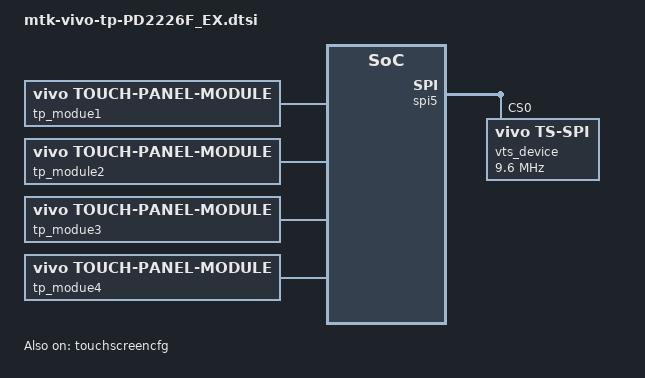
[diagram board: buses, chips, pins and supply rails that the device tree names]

&spi5 {
	#address-cells = <1>;
	#size-cells = <0>;
	
	vts_device@0 {
		compatible = "vivo,ts-spi";
		status = "okay";
		reg=<0>;
		spi-max-frequency = <9600000>;
		//pinctrl-names ="default";
		//pinctrl-0 = <&spi_pins_pd2139f_cfg>;
		nt36528 {
			compatible = "novatek,NVT-ts-spi-v2";
			status = "ok";
		
			vts-type=<0>;
			vts-ic-number=<85>;
			spi-max-frequency = <9600000>;	//4800000,9600000,15000000,19200000
			//pinctrl-names = "spi_clk_active","spi_mosi_active";
			//pinctrl-0 = <&spi2_clk_set_cfg>;
			novatek,reset-gpio = <&pio 19 0x00>;
			novatek,irq-gpio = <&pio 1 0x02>;

			sensor-test-key="com.nttouchscreen.mptest:MainActivity:android.intent.action.novatek:0:testResult";
			lcm-noise-test-key="com.nt36xxxtouchscreen.deltadiff:MainActivity:null:null:null";
			rawdata-test-key="com.nttouchscreen.getdata:MainActivity:null:null:null";
			rf-noise-test-key="com.nt36xxxtouchscreen.deltadiff:BspTest:android.intent.action.nvtdeltadiff:0:testResult";
			
			/* 672 */
			//novatek,swrst-n8-addr = <0x01F01A>;

			/* 672A */
			novatek,swrst-n8-addr = <0x03F0FE>;
		};
		
		td4160 {
			compatible = "ovt,tcm_td4375_v2";
			status = "ok";

			vts-type=<0>;
			vts-ic-number=<120>;
			spi-max-frequency = <9600000>;	//4800000,9600000,15000000,19200000
			ovt,irq-gpio = <&pio 1 0x08>;
			//ovt,cs-gpio = <&pio 98 0x00>;
			ovt,spi-mode = <3>;
			ovt,ubl-max-freq = <9600000>;
			ovt,ubl-byte-delay-us = <20>;
			ovt,reset-gpio = <&pio 19 0x00>;
			ovt,attn_polarity = <0x02>;
			ovt,power-on-state = <1>;
			ovt,irq-on-state = <0>;
			//ovt,power-delay-ms = <200>;
			ovt,reset-delay-ms = <120>;
			ovt,reset-on-state = <0>;
			ovt,reset-active-ms = <1>;
			ovt,reset-shutdown = <1>;

			sensor-test-key = "com.vivotouchscreen.ovttdditool:ActivityVIVOProduction:com.vivotouchscreen.ovttdditool:0:com.vivotouchscreen.ovttdditool";
			lcm-noise-test-key = "com.vivotouchscreen.ovtdeltadiff:MainActivity:null:null:null";
			rawdata-test-key="com.vivotouchscreen.ovttdditool:MainActivity:null:null:null";
			rf-noise-test-key="com.vivotouchscreen.ovtdeltadiff:OvtBspTest:com.vivotouchscreen.ovtdeltadiff:0:testResult";
		};
		
		chipone_tddi {
			compatible = "chipone-tddi";
			status = "ok";
			vts-ic-number=<111>;
			spi-max-frequency = <9600000>;	//4800000,9600000,15000000,19200000
			chipone,irq-gpio = <&pio 1 0x02>;
			chipone,rst-gpio = <&pio 19 0x00>;
			chipone,x-res = <720>;
			chipone,y-res = <1600>;
			sensor-test-key="com.touchscreen.chipone9916.test:MainActivity:android.intent.action.chipone:0:testResult";
			rawdata-test-key="com.touchscreen.chipone9916.rawdata:DataShowActivity:null:null:null";
			lcm-noise-test-key="com.touchscreen.chipone9916.noise:NoiseActivity:null:null:null";
			rf-noise-test-key="com.touchscreen.chipone9916.noise:BspTestActivity:action_noise_test:0:result";
		};
	};
};

&touchscreencfg {
	compatible = "vivo,touchscreen-config";
	vivo,ts-product-name="PD2226F_EX";
	status = "okay";
	
	tp_modue1{    // NT365258 1211839
		compatible = "vivo,touch-panel-module";
		vts-ic-number=<85>;
		vts-type=<0>;
		vts-lcmid=<48>;  //   INX  nt36528
		vts-dimention-x=<720>;
		vts-dimention-y=<1612>;
		vts-tx-sensors=<18>;
		vts-rx-sensors=<32>;
		vts-incell=<1>;
		vts-need-caliberation=<0>;
		vts-virtual-proximinity=<0>;
		vts-long-press=<0>;
		vts-module-vendor=<0xF0>;
		vts-no-flash=<1>;
		vts-game-mode=<0>;
		vts-game-idle-time=<0>;
		vts-report-timestamp=<1>;
		vts-gesture=<1>;
		vts-input-method=<1>;
		vts-debug-cust=<1>;
	};
	
	tp_module2 {    //1211843 td4160
		compatible = "vivo,touch-panel-module";
		vts-ic-number=<120>;
		vts-type=<0>;
		vts-lcmid=<145>;//td4160 ovt
		vts-dimention-x=<720>;
		vts-dimention-y=<1612>;
		vts-tx-sensors=<18>;
		vts-rx-sensors=<32>;
		vts-incell=<1>;
		vts-need-caliberation=<0>;
		vts-virtual-proximinity=<0>;
		vts-long-press=<0>;
		vts-module-vendor=<0xF0>;
		vts-no-flash=<1>;
		vts-game-mode=<1>;
		vts-game-idle-time=<10>;
		vts-report-timestamp=<1>;
		vts-gesture=<1>;
	};
	
	tp_modue3{    //1211847  
		compatible = "vivo,touch-panel-module";
		vts-ic-number=<111>;
		vts-type=<0>;
		vts-lcmid=<18>;//  INCL9916
		vts-dimention-x=<720>;
		vts-dimention-y=<1612>;
		vts-tx-sensors=<18>;
		vts-rx-sensors=<32>;
		vts-incell=<1>;
		vts-module-vendor=<0xF0>;
		vts-no-flash=<1>;
		vts-gesture=<1>;
		vts-debug-cust=<1>;
		vts-no-flash-unique-code=<1>;
	};
	tp_modue4{    // NT365258 1211875
		compatible = "vivo,touch-panel-module";
		vts-ic-number=<85>;
		vts-type=<0>;
		vts-lcmid=<51>;  //   INX  nt36528
		vts-dimention-x=<720>;
		vts-dimention-y=<1612>;
		vts-tx-sensors=<18>;
		vts-rx-sensors=<32>;
		vts-incell=<1>;
		vts-need-caliberation=<0>;
		vts-virtual-proximinity=<0>;
		vts-long-press=<0>;
		vts-module-vendor=<0xF0>;
		vts-no-flash=<1>;
		vts-game-mode=<0>;
		vts-game-idle-time=<0>;
		vts-report-timestamp=<1>;
		vts-gesture=<1>;
		vts-input-method=<1>;
		vts-debug-cust=<1>;
	};
};
